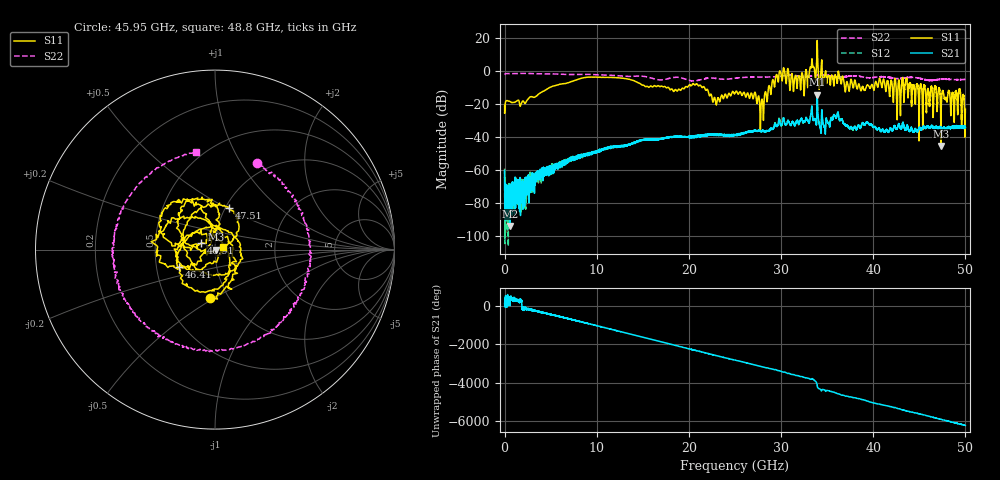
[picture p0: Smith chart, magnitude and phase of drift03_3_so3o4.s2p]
!Created with skrf (http://scikit-rf.org).
# Hz S RI R 50.0
!freq ReS11 ImS11 ReS21 ImS21 ReS12 ImS12 ReS22 ImS22
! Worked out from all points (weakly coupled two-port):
!   10001 points, 300 kHz to 50 GHz, reference 50 ohm
!   highest |S21| = -14.21 dB at 33.92 GHz (marker M1); lowest = -94.0 dB at 555.3 MHz (marker M2)
!   lowest |S11| = -45.5 dB at 47.34 GHz (marker M3), VSWR 1.01, Z = 50.5 - j0.0671 ohm
!   |S11| at or under -10 dB: start of sweep to 4.855 GHz; 21.69 GHz to 28.63 GHz (6.934 GHz wide, 27.6 % of centre); 46.79 GHz to end of sweep (the widest 3 of 42)
!   |S22| runs from -5.9 to -1.3 dB; largest |S21 - S12| = 0.019
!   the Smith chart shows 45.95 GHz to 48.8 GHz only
!   S11 on the Smith chart (normalised r, x): 45.95 GHz: 0.82, -0.48; 46.41 GHz: 0.65, -0.13; 46.91 GHz: 0.86, +0.06; 47.51 GHz: 1.04, +0.52; 48.8 GHz: 1.09, +0.03
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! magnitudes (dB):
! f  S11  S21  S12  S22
! 300 kHz  -21.4  -60.5  -59.2  -2.1
! 555.3 MHz  -18.3  -94.0  -75.2  -1.5
! 8.335 GHz  -4.3  -51.7  -51.7  -1.9
! 16.67 GHz  -8.8  -41.6  -41.4  -5.2
! 21.01 GHz  -8.8  -39.2  -39.4  -5.5
! 22.81 GHz  -16.1  -38.2  -38.4  -4.3
! 25 GHz  -13.4  -38.5  -38.8  -4.3
! 27.02 GHz  -16.1  -36.0  -36.6  -3.6
! 27.91 GHz  -17.1  -36.5  -36.6  -3.5
! 29.69 GHz  -6.6  -32.1  -31.7  -3.1
! 32.32 GHz  -1.5  -30.3  -30.8  -3.3
! 33.34 GHz  7.0  -21.1  -21.1  -3.0
! 33.92 GHz  18.7  -14.2  -14.5  -2.5
! 37.17 GHz  -6.5  -33.2  -33.2  -3.2
! 41.67 GHz  -9.0  -37.1  -36.7  -3.7
! 45.95 GHz  -11.4  -33.9  -33.7  -5.4
! 46.41 GHz  -13.0  -33.4  -33.4  -5.5
! 46.91 GHz  -21.5  -34.6  -34.0  -5.2
! 47.34 GHz  -45.5  -33.8  -34.3  -4.9
! 47.51 GHz  -12.2  -34.8  -34.7  -4.9
! 48.8 GHz  -27.1  -33.6  -34.1  -5.1
! 50 GHz  -23.2  -34.3  -34.4  -5.0
